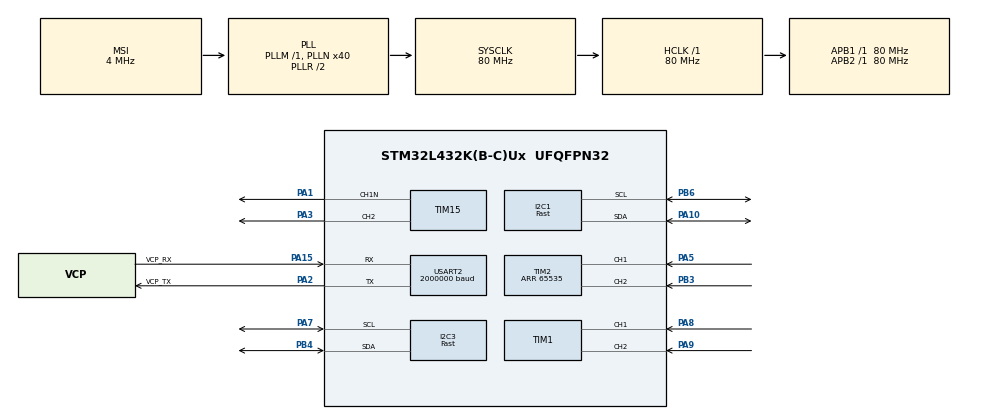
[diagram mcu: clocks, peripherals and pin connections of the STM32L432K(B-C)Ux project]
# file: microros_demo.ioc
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Dma.Request0=USART2_RX
Dma.Request1=USART2_TX
Dma.USART2_RX.0.Direction=DMA_PERIPH_TO_MEMORY
Dma.USART2_RX.0.Instance=DMA1_Channel6
Dma.USART2_RX.0.MemDataAlignment=DMA_MDATAALIGN_BYTE
Dma.USART2_RX.0.MemInc=DMA_MINC_ENABLE
Dma.USART2_RX.0.Mode=DMA_CIRCULAR
Dma.USART2_RX.0.PeriphDataAlignment=DMA_PDATAALIGN_BYTE
Dma.USART2_RX.0.PeriphInc=DMA_PINC_DISABLE
Dma.USART2_RX.0.Priority=DMA_PRIORITY_VERY_HIGH
Dma.USART2_TX.1.Direction=DMA_MEMORY_TO_PERIPH
Dma.USART2_TX.1.Instance=DMA1_Channel7
Dma.USART2_TX.1.MemDataAlignment=DMA_MDATAALIGN_BYTE
Dma.USART2_TX.1.MemInc=DMA_MINC_ENABLE
Dma.USART2_TX.1.Mode=DMA_NORMAL
Dma.USART2_TX.1.PeriphDataAlignment=DMA_PDATAALIGN_BYTE
Dma.USART2_TX.1.PeriphInc=DMA_PINC_DISABLE
Dma.USART2_TX.1.Priority=DMA_PRIORITY_VERY_HIGH
FREERTOS.Tasks01=defaultTask,24,4096,StartDefaultTask,Default,NULL,Static,defaultTaskBuffer,defaultTaskControlBlock
FREERTOS.configENABLE_FPU=1
FREERTOS.configUSE_NEWLIB_REENTRANT=1
I2C1.I2C_Speed_Mode=I2C_Fast
I2C1.Timing=0x00702991
I2C3.I2C_Speed_Mode=I2C_Fast
I2C3.Timing=0x00702991
Mcu.Family=STM32L4
Mcu.Name=STM32L432K(B-C)Ux
Mcu.Package=UFQFPN32
NVIC.DMA1_Channel6_IRQn=true\:5\:0\:false\:false\:true\:true\:false\:true\:true
NVIC.DMA1_Channel7_IRQn=true\:5\:0\:false\:false\:true\:true\:false\:true\:true
NVIC.PriorityGroup=NVIC_PRIORITYGROUP_4
NVIC.TIM6_DAC_IRQn=true\:15\:0\:false\:false\:true\:false\:false\:true\:true
NVIC.TimeBase=TIM6_DAC_IRQn
NVIC.TimeBaseIP=TIM6
NVIC.USART2_IRQn=true\:5\:0\:false\:false\:true\:true\:true\:true\:true
PA0.GPIO_Label=MCO [High speed clock in]
PA0.Mode=HSE-External-Clock-Source-for-LittleOrca
PA0.Signal=RCC_CK_IN
PA1.Mode=PWM Generation1 CH1N
PA1.Signal=TIM15_CH1N
PA10.Mode=I2C
PA10.Signal=I2C1_SDA
PA13\ (JTMS-SWDIO).GPIO_Label=SWDIO
PA13\ (JTMS-SWDIO).Mode=Serial_Wire
PA13\ (JTMS-SWDIO).Signal=SYS_JTMS-SWDIO
PA14\ (JTCK-SWCLK).GPIO_Label=SWCLK
PA14\ (JTCK-SWCLK).Mode=Serial_Wire
PA14\ (JTCK-SWCLK).Signal=SYS_JTCK-SWCLK
PA15\ (JTDI).GPIO_Label=VCP_RX
PA15\ (JTDI).Mode=Asynchronous
PA15\ (JTDI).Signal=USART2_RX
PA2.GPIO_Label=VCP_TX
PA2.Mode=Asynchronous
PA2.Signal=USART2_TX
PA3.Signal=S_TIM15_CH2
PA5.Signal=S_TIM2_CH1
PA7.Mode=I2C
PA7.Signal=I2C3_SCL
PA8.Signal=S_TIM1_CH1
PA9.Signal=S_TIM1_CH2
PB3\ (JTDO-TRACESWO).Signal=S_TIM2_CH2
PB4\ (NJTRST).Mode=I2C
PB4\ (NJTRST).Signal=I2C3_SDA
PB6.Mode=I2C
PB6.Signal=I2C1_SCL
PC14-OSC32_IN\ (PC14).Mode=LSE-External-Oscillator
PC14-OSC32_IN\ (PC14).Signal=RCC_OSC32_IN
PC15-OSC32_OUT\ (PC15).Mode=LSE-External-Oscillator
PC15-OSC32_OUT\ (PC15).Signal=RCC_OSC32_OUT
ProjectManager.HeapSize=0x200
ProjectManager.StackSize=0x400
ProjectManager.TargetToolchain=STM32CubeIDE
RCC.AHBFreq_Value=80000000
RCC.APB1Freq_Value=80000000
RCC.APB1TimFreq_Value=80000000
RCC.APB2Freq_Value=80000000
RCC.APB2TimFreq_Value=80000000
RCC.CortexFreq_Value=80000000
RCC.HCLKFreq_Value=80000000
RCC.HSE_VALUE=8000000
RCC.HSI16_VALUE=16000000
RCC.HSI48_VALUE=48000000
RCC.HSI_VALUE=16000000
RCC.MSI_VALUE=4000000
RCC.PLLMUL=RCC_PLLMUL_4
RCC.PLLN=40
RCC.SYSCLKFreq_VALUE=80000000
RCC.SYSCLKSource=RCC_SYSCLKSOURCE_PLLCLK
RCC.VCOOutputFreq_Value=160000000
SH.S_TIM15_CH2.0=TIM15_CH2,PWM Generation2 CH2
SH.S_TIM1_CH1.0=TIM1_CH1,Encoder_Interface
SH.S_TIM1_CH2.0=TIM1_CH2,Encoder_Interface
SH.S_TIM2_CH1.0=TIM2_CH1,Encoder_Interface
SH.S_TIM2_CH2.0=TIM2_CH2,Encoder_Interface
TIM1.EncoderMode=TIM_ENCODERMODE_TI12
TIM15.Channel-PWM\ Generation1\ CH1N=TIM_CHANNEL_1
TIM15.Channel-PWM\ Generation2\ CH2=TIM_CHANNEL_2
TIM2.EncoderMode=TIM_ENCODERMODE_TI12
TIM2.Period=65535
USART2.BaudRate=2000000
USART2.VirtualMode-Asynchronous=VM_ASYNC
VP_FREERTOS_VS_CMSIS_V2.Mode=CMSIS_V2
VP_SYS_VS_tim6.Mode=TIM6
VP_TIM15_VS_ClockSourceINT.Mode=Internal
board=NUCLEO-L432KC

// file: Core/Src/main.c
/* USER CODE BEGIN Header */
/**
  ******************************************************************************
  * @file           : main.c
  * @brief          : Main program body
  ******************************************************************************
  * @attention
  *
  * Copyright (c) 2024 STMicroelectronics.
  * All rights reserved.
  *
  * This software is licensed under terms that can be found in the LICENSE file
  * in the root directory of this software component.
  * If no LICENSE file comes with this software, it is provided AS-IS.
  *
  ******************************************************************************
  */
/* USER CODE END Header */
#include "main.h"
#include "cmsis_os.h"

/* USER CODE BEGIN Includes */
#include <rcl/rcl.h>
#include <rcl/error_handling.h>
#include <rclc/rclc.h>
#include <rclc/executor.h>
#include <uxr/client/transport.h>
#include <rmw_microxrcedds_c/config.h>
#include <rmw_microros/rmw_microros.h>

#include <std_msgs/msg/float64_multi_array.h>
/* USER CODE END Includes */

typedef StaticTask_t osStaticThreadDef_t;

/* USER CODE BEGIN PM */
#define HALCHECK(fn) while(u != HAL_OK) HAL_Delay(100);
#define RCCHECK(fn) { rcl_ret_t temp_rc = fn; if((temp_rc != RCL_RET_OK)){Error_Handler()}}
#define RCSOFTCHECK(fn) { rcl_ret_t temp_rc = fn; if((temp_rc != RCL_RET_OK)){}}
/* USER CODE END PM */

I2C_HandleTypeDef hi2c1;
I2C_HandleTypeDef hi2c3;

TIM_HandleTypeDef htim1;
TIM_HandleTypeDef htim2;
TIM_HandleTypeDef htim15;

UART_HandleTypeDef huart2;
DMA_HandleTypeDef hdma_usart2_rx;
DMA_HandleTypeDef hdma_usart2_tx;

/* Definitions for defaultTask */
osThreadId_t defaultTaskHandle;
uint32_t defaultTaskBuffer[ 4096 ];
osStaticThreadDef_t defaultTaskControlBlock;
const osThreadAttr_t defaultTask_attributes = {
  .name = "defaultTask",
  .cb_mem = &defaultTaskControlBlock,
  .cb_size = sizeof(defaultTaskControlBlock),
  .stack_mem = &defaultTaskBuffer[0],
  .stack_size = sizeof(defaultTaskBuffer),
  .priority = (osPriority_t) osPriorityNormal,
};
/* USER CODE BEGIN PV */
rcl_publisher_t enc_publisher;
rcl_publisher_t imu_publisher;

rcl_subscription_t cmd_subscription;

std_msgs__msg__Float64MultiArray enc_msg;
std_msgs__msg__Float64MultiArray imu_msg;
std_msgs__msg__Float64MultiArray cmd_msg;

rclc_support_t support;
rclc_executor_t executor;
rcl_allocator_t allocator;
rcl_node_t node;
rcl_timer_t enc_timer;
rcl_timer_t imu_timer;
/* USER CODE END PV */

void SystemClock_Config(void);
static void MX_GPIO_Init(void);
static void MX_DMA_Init(void);
static void MX_USART2_UART_Init(void);
static void MX_I2C1_Init(void);
static void MX_I2C3_Init(void);
static void MX_TIM1_Init(void);
static void MX_TIM2_Init(void);
static void MX_TIM15_Init(void);
void StartDefaultTask(void *argument);

int main(void)
{

  /* MCU Configuration--------------------------------------------------------*/

  /* Reset of all peripherals, Initializes the Flash interface and the Systick. */
  HAL_Init();

  /* Configure the system clock */
  SystemClock_Config();

  /* Initialize all configured peripherals */
  MX_GPIO_Init();
  MX_DMA_Init();
  MX_USART2_UART_Init();
  MX_I2C1_Init();
  MX_I2C3_Init();
  MX_TIM1_Init();
  MX_TIM2_Init();
  MX_TIM15_Init();

  /* Init scheduler */
  osKernelInitialize();

  /* Create the thread(s) */
  /* creation of defaultTask */
  defaultTaskHandle = osThreadNew(StartDefaultTask, NULL, &defaultTask_attributes);

  /* Start scheduler */
  osKernelStart();

  /* We should never get here as control is now taken by the scheduler */

  /* Infinite loop */
  while (1)
  {

  }
}

void SystemClock_Config(void)
{
  RCC_OscInitTypeDef RCC_OscInitStruct = {0};
  RCC_ClkInitTypeDef RCC_ClkInitStruct = {0};

  /** Configure the main internal regulator output voltage
  */
  if (HAL_PWREx_ControlVoltageScaling(PWR_REGULATOR_VOLTAGE_SCALE1) != HAL_OK)
  {
    Error_Handler();
  }

  /** Configure LSE Drive Capability
  */
  HAL_PWR_EnableBkUpAccess();
  __HAL_RCC_LSEDRIVE_CONFIG(RCC_LSEDRIVE_LOW);

  /** Initializes the RCC Oscillators according to the specified parameters
  * in the RCC_OscInitTypeDef structure.
  */
  RCC_OscInitStruct.OscillatorType = RCC_OSCILLATORTYPE_LSE|RCC_OSCILLATORTYPE_MSI;
  RCC_OscInitStruct.LSEState = RCC_LSE_ON;
  RCC_OscInitStruct.MSIState = RCC_MSI_ON;
  RCC_OscInitStruct.MSICalibrationValue = 0;
  RCC_OscInitStruct.MSIClockRange = RCC_MSIRANGE_6;
  RCC_OscInitStruct.PLL.PLLState = RCC_PLL_ON;
  RCC_OscInitStruct.PLL.PLLSource = RCC_PLLSOURCE_MSI;
  RCC_OscInitStruct.PLL.PLLM = 1;
  RCC_OscInitStruct.PLL.PLLN = 40;
  RCC_OscInitStruct.PLL.PLLP = RCC_PLLP_DIV7;
  RCC_OscInitStruct.PLL.PLLQ = RCC_PLLQ_DIV2;
  RCC_OscInitStruct.PLL.PLLR = RCC_PLLR_DIV2;
  if (HAL_RCC_OscConfig(&RCC_OscInitStruct) != HAL_OK)
  {
    Error_Handler();
  }

  /** Initializes the CPU, AHB and APB buses clocks
  */
  RCC_ClkInitStruct.ClockType = RCC_CLOCKTYPE_HCLK|RCC_CLOCKTYPE_SYSCLK
                              |RCC_CLOCKTYPE_PCLK1|RCC_CLOCKTYPE_PCLK2;
  RCC_ClkInitStruct.SYSCLKSource = RCC_SYSCLKSOURCE_PLLCLK;
  RCC_ClkInitStruct.AHBCLKDivider = RCC_SYSCLK_DIV1;
  RCC_ClkInitStruct.APB1CLKDivider = RCC_HCLK_DIV1;
  RCC_ClkInitStruct.APB2CLKDivider = RCC_HCLK_DIV1;

  if (HAL_RCC_ClockConfig(&RCC_ClkInitStruct, FLASH_LATENCY_4) != HAL_OK)
  {
    Error_Handler();
  }

  /** Enable MSI Auto calibration
  */
  HAL_RCCEx_EnableMSIPLLMode();
}

static void MX_I2C1_Init(void)
{

  hi2c1.Instance = I2C1;
  hi2c1.Init.Timing = 0x00702991;
  hi2c1.Init.OwnAddress1 = 0;
  hi2c1.Init.AddressingMode = I2C_ADDRESSINGMODE_7BIT;
  hi2c1.Init.DualAddressMode = I2C_DUALADDRESS_DISABLE;
  hi2c1.Init.OwnAddress2 = 0;
  hi2c1.Init.OwnAddress2Masks = I2C_OA2_NOMASK;
  hi2c1.Init.GeneralCallMode = I2C_GENERALCALL_DISABLE;
  hi2c1.Init.NoStretchMode = I2C_NOSTRETCH_DISABLE;
  if (HAL_I2C_Init(&hi2c1) != HAL_OK)
  {
    Error_Handler();
  }

  /** Configure Analogue filter
  */
  if (HAL_I2CEx_ConfigAnalogFilter(&hi2c1, I2C_ANALOGFILTER_ENABLE) != HAL_OK)
  {
    Error_Handler();
  }

  /** Configure Digital filter
  */
  if (HAL_I2CEx_ConfigDigitalFilter(&hi2c1, 0) != HAL_OK)
  {
    Error_Handler();
  }

}

static void MX_I2C3_Init(void)
{

  hi2c3.Instance = I2C3;
  hi2c3.Init.Timing = 0x00702991;
  hi2c3.Init.OwnAddress1 = 0;
  hi2c3.Init.AddressingMode = I2C_ADDRESSINGMODE_7BIT;
  hi2c3.Init.DualAddressMode = I2C_DUALADDRESS_DISABLE;
  hi2c3.Init.OwnAddress2 = 0;
  hi2c3.Init.OwnAddress2Masks = I2C_OA2_NOMASK;
  hi2c3.Init.GeneralCallMode = I2C_GENERALCALL_DISABLE;
  hi2c3.Init.NoStretchMode = I2C_NOSTRETCH_DISABLE;
  if (HAL_I2C_Init(&hi2c3) != HAL_OK)
  {
    Error_Handler();
  }

  /** Configure Analogue filter
  */
  if (HAL_I2CEx_ConfigAnalogFilter(&hi2c3, I2C_ANALOGFILTER_ENABLE) != HAL_OK)
  {
    Error_Handler();
  }

  /** Configure Digital filter
  */
  if (HAL_I2CEx_ConfigDigitalFilter(&hi2c3, 0) != HAL_OK)
  {
    Error_Handler();
  }

}

static void MX_TIM1_Init(void)
{

  TIM_Encoder_InitTypeDef sConfig = {0};
  TIM_MasterConfigTypeDef sMasterConfig = {0};

  htim1.Instance = TIM1;
  htim1.Init.Prescaler = 0;
  htim1.Init.CounterMode = TIM_COUNTERMODE_UP;
  htim1.Init.Period = 65535;
  htim1.Init.ClockDivision = TIM_CLOCKDIVISION_DIV1;
  htim1.Init.RepetitionCounter = 0;
  htim1.Init.AutoReloadPreload = TIM_AUTORELOAD_PRELOAD_DISABLE;
  sConfig.EncoderMode = TIM_ENCODERMODE_TI12;
  sConfig.IC1Polarity = TIM_ICPOLARITY_RISING;
  sConfig.IC1Selection = TIM_ICSELECTION_DIRECTTI;
  sConfig.IC1Prescaler = TIM_ICPSC_DIV1;
  sConfig.IC1Filter = 0;
  sConfig.IC2Polarity = TIM_ICPOLARITY_RISING;
  sConfig.IC2Selection = TIM_ICSELECTION_DIRECTTI;
  sConfig.IC2Prescaler = TIM_ICPSC_DIV1;
  sConfig.IC2Filter = 0;
  if (HAL_TIM_Encoder_Init(&htim1, &sConfig) != HAL_OK)
  {
    Error_Handler();
  }
  sMasterConfig.MasterOutputTrigger = TIM_TRGO_RESET;
  sMasterConfig.MasterOutputTrigger2 = TIM_TRGO2_RESET;
  sMasterConfig.MasterSlaveMode = TIM_MASTERSLAVEMODE_DISABLE;
  if (HAL_TIMEx_MasterConfigSynchronization(&htim1, &sMasterConfig) != HAL_OK)
  {
    Error_Handler();
  }

}

static void MX_TIM2_Init(void)
{

  TIM_Encoder_InitTypeDef sConfig = {0};
  TIM_MasterConfigTypeDef sMasterConfig = {0};

  htim2.Instance = TIM2;
  htim2.Init.Prescaler = 0;
  htim2.Init.CounterMode = TIM_COUNTERMODE_UP;
  htim2.Init.Period = 65535;
  htim2.Init.ClockDivision = TIM_CLOCKDIVISION_DIV1;
  htim2.Init.AutoReloadPreload = TIM_AUTORELOAD_PRELOAD_DISABLE;
  sConfig.EncoderMode = TIM_ENCODERMODE_TI12;
  sConfig.IC1Polarity = TIM_ICPOLARITY_RISING;
  sConfig.IC1Selection = TIM_ICSELECTION_DIRECTTI;
  sConfig.IC1Prescaler = TIM_ICPSC_DIV1;
  sConfig.IC1Filter = 0;
  sConfig.IC2Polarity = TIM_ICPOLARITY_RISING;
  sConfig.IC2Selection = TIM_ICSELECTION_DIRECTTI;
  sConfig.IC2Prescaler = TIM_ICPSC_DIV1;
  sConfig.IC2Filter = 0;
  if (HAL_TIM_Encoder_Init(&htim2, &sConfig) != HAL_OK)
  {
    Error_Handler();
  }
  sMasterConfig.MasterOutputTrigger = TIM_TRGO_RESET;
  sMasterConfig.MasterSlaveMode = TIM_MASTERSLAVEMODE_DISABLE;
  if (HAL_TIMEx_MasterConfigSynchronization(&htim2, &sMasterConfig) != HAL_OK)
  {
    Error_Handler();
  }

}

static void MX_TIM15_Init(void)
{

  TIM_ClockConfigTypeDef sClockSourceConfig = {0};
  TIM_MasterConfigTypeDef sMasterConfig = {0};
  TIM_OC_InitTypeDef sConfigOC = {0};
  TIM_BreakDeadTimeConfigTypeDef sBreakDeadTimeConfig = {0};

  htim15.Instance = TIM15;
  htim15.Init.Prescaler = 0;
  htim15.Init.CounterMode = TIM_COUNTERMODE_UP;
  htim15.Init.Period = 65535;
  htim15.Init.ClockDivision = TIM_CLOCKDIVISION_DIV1;
  htim15.Init.RepetitionCounter = 0;
  htim15.Init.AutoReloadPreload = TIM_AUTORELOAD_PRELOAD_DISABLE;
  if (HAL_TIM_Base_Init(&htim15) != HAL_OK)
  {
    Error_Handler();
  }
  sClockSourceConfig.ClockSource = TIM_CLOCKSOURCE_INTERNAL;
  if (HAL_TIM_ConfigClockSource(&htim15, &sClockSourceConfig) != HAL_OK)
  {
    Error_Handler();
  }
  if (HAL_TIM_PWM_Init(&htim15) != HAL_OK)
  {
    Error_Handler();
  }
  sMasterConfig.MasterOutputTrigger = TIM_TRGO_RESET;
  sMasterConfig.MasterSlaveMode = TIM_MASTERSLAVEMODE_DISABLE;
  if (HAL_TIMEx_MasterConfigSynchronization(&htim15, &sMasterConfig) != HAL_OK)
  {
    Error_Handler();
  }
  sConfigOC.OCMode = TIM_OCMODE_PWM1;
  sConfigOC.Pulse = 0;
  sConfigOC.OCPolarity = TIM_OCPOLARITY_HIGH;
  sConfigOC.OCNPolarity = TIM_OCNPOLARITY_HIGH;
  sConfigOC.OCFastMode = TIM_OCFAST_DISABLE;
  sConfigOC.OCIdleState = TIM_OCIDLESTATE_RESET;
  sConfigOC.OCNIdleState = TIM_OCNIDLESTATE_RESET;
  if (HAL_TIM_PWM_ConfigChannel(&htim15, &sConfigOC, TIM_CHANNEL_1) != HAL_OK)
  {
    Error_Handler();
  }
  if (HAL_TIM_PWM_ConfigChannel(&htim15, &sConfigOC, TIM_CHANNEL_2) != HAL_OK)
  {
    Error_Handler();
  }
  sBreakDeadTimeConfig.OffStateRunMode = TIM_OSSR_DISABLE;
  sBreakDeadTimeConfig.OffStateIDLEMode = TIM_OSSI_DISABLE;
  sBreakDeadTimeConfig.LockLevel = TIM_LOCKLEVEL_OFF;
  sBreakDeadTimeConfig.DeadTime = 0;
  sBreakDeadTimeConfig.BreakState = TIM_BREAK_DISABLE;
  sBreakDeadTimeConfig.BreakPolarity = TIM_BREAKPOLARITY_HIGH;
  sBreakDeadTimeConfig.AutomaticOutput = TIM_AUTOMATICOUTPUT_DISABLE;
  if (HAL_TIMEx_ConfigBreakDeadTime(&htim15, &sBreakDeadTimeConfig) != HAL_OK)
  {
    Error_Handler();
  }
  HAL_TIM_MspPostInit(&htim15);

}

static void MX_USART2_UART_Init(void)
{

  huart2.Instance = USART2;
  huart2.Init.BaudRate = 2000000;
  huart2.Init.WordLength = UART_WORDLENGTH_8B;
  huart2.Init.StopBits = UART_STOPBITS_1;
  huart2.Init.Parity = UART_PARITY_NONE;
  huart2.Init.Mode = UART_MODE_TX_RX;
  huart2.Init.HwFlowCtl = UART_HWCONTROL_NONE;
  huart2.Init.OverSampling = UART_OVERSAMPLING_16;
  huart2.Init.OneBitSampling = UART_ONE_BIT_SAMPLE_DISABLE;
  huart2.AdvancedInit.AdvFeatureInit = UART_ADVFEATURE_NO_INIT;
  if (HAL_UART_Init(&huart2) != HAL_OK)
  {
    Error_Handler();
  }

}

static void MX_DMA_Init(void)
{

  /* DMA controller clock enable */
  __HAL_RCC_DMA1_CLK_ENABLE();

  /* DMA interrupt init */
  /* DMA1_Channel6_IRQn interrupt configuration */
  HAL_NVIC_SetPriority(DMA1_Channel6_IRQn, 5, 0);
  HAL_NVIC_EnableIRQ(DMA1_Channel6_IRQn);
  /* DMA1_Channel7_IRQn interrupt configuration */
  HAL_NVIC_SetPriority(DMA1_Channel7_IRQn, 5, 0);
  HAL_NVIC_EnableIRQ(DMA1_Channel7_IRQn);

}

static void MX_GPIO_Init(void)
{

  /* GPIO Ports Clock Enable */
  __HAL_RCC_GPIOC_CLK_ENABLE();
  __HAL_RCC_GPIOA_CLK_ENABLE();
  __HAL_RCC_GPIOB_CLK_ENABLE();

}

/* USER CODE BEGIN 4 */
bool cubemx_transport_open(struct uxrCustomTransport * transport);
bool cubemx_transport_close(struct uxrCustomTransport * transport);
size_t cubemx_transport_write(struct uxrCustomTransport* transport, const uint8_t * buf, size_t len, uint8_t * err);
size_t cubemx_transport_read(struct uxrCustomTransport* transport, uint8_t* buf, size_t len, int timeout, uint8_t* err);

void * microros_allocate(size_t size, void * state);
void microros_deallocate(void * pointer, void * state);
void * microros_reallocate(void * pointer, size_t size, void * state);
void * microros_zero_allocate(size_t number_of_elements, size_t size_of_element, void * state);

void enc_timer_callback(rcl_timer_t * timer, int64_t last_call_time)
{
	RCLC_UNUSED(last_call_time);
	if (timer != NULL)
	{
		rcl_ret_t ret = rcl_publish(&enc_publisher, &enc_msg, NULL);
		if (ret != RCL_RET_OK)
		{
			printf("Error publishing (line %d)\n", __LINE__);
		}
	}
}

void imu_timer_callback(rcl_timer_t * timer, int64_t last_call_time)
{
	RCLC_UNUSED(last_call_time);
	if (timer != NULL)
	{
		rcl_ret_t ret = rcl_publish(&imu_publisher, &imu_msg, NULL);
		if (ret != RCL_RET_OK)
		{
			printf("Error publishing (line %d)\n", __LINE__);
		}
	}
}

void subscription_callback(const void * msgin)
{
  const std_msgs__msg__Float64MultiArray *cmd_msg = (const std_msgs__msg__Float64MultiArray *)msgin;

	enc_msg.data.data[0] = cmd_msg->data.data[0];
	enc_msg.data.data[1] = cmd_msg->data.data[1];
}
/* USER CODE END 4 */

void StartDefaultTask(void *argument)
{
  /* USER CODE BEGIN 5 */

	// micro-ROS configuration

	rmw_uros_set_custom_transport(
			true,
			(void *) &huart2,
			cubemx_transport_open,
			cubemx_transport_close,
			cubemx_transport_write,
			cubemx_transport_read);

	rcl_allocator_t freeRTOS_allocator = rcutils_get_zero_initialized_allocator();
	freeRTOS_allocator.allocate = microros_allocate;
	freeRTOS_allocator.deallocate = microros_deallocate;
	freeRTOS_allocator.reallocate = microros_reallocate;
	freeRTOS_allocator.zero_allocate =  microros_zero_allocate;

	if (!rcutils_set_default_allocator(&freeRTOS_allocator)) {
		printf("Error on default allocators (line %d)\n", __LINE__);
	}

	// micro-ROS app

	allocator = rcl_get_default_allocator();

	//create init_options
	rclc_support_init(&support, 0, NULL, &allocator);

	// create node
	rclc_node_init_default(&node, "cubemx_node", "", &support);

	// create publisher
	rclc_publisher_init_default(
			&enc_publisher,
			&node,
			ROSIDL_GET_MSG_TYPE_SUPPORT(std_msgs, msg, Float64MultiArray),
			"enc_raw");
	rclc_publisher_init_default(&imu_publisher,
			&node,
			ROSIDL_GET_MSG_TYPE_SUPPORT(std_msgs, msg, Float64MultiArray),
			"imu_raw");

	rclc_subscription_init_default(
			&cmd_subscription,
			&node,
			ROSIDL_GET_MSG_TYPE_SUPPORT(std_msgs, msg, Float64MultiArray),
			"mcu_cmd");

	rclc_timer_init_default(
			&enc_timer,
			&support,
			RCL_MS_TO_NS(20),
			enc_timer_callback);

	rclc_timer_init_default(&imu_timer,
			&support,
			RCL_MS_TO_NS(10),
			imu_timer_callback);

	enc_msg.data.capacity = 3;
	enc_msg.data.data = (double*) malloc(enc_msg.data.capacity * sizeof(double));
	enc_msg.data.size = 3;

	imu_msg.data.capacity = 10;
	imu_msg.data.data = (double*) malloc(imu_msg.data.capacity * sizeof(double));
	imu_msg.data.size = 10;

	cmd_msg.data.capacity = 2;
	cmd_msg.data.data = (double*) malloc(cmd_msg.data.capacity * sizeof(double));
	cmd_msg.data.size = 2;

	rclc_executor_init(&executor, &support.context, 3, &allocator);
	rclc_executor_add_subscription(&executor, &cmd_subscription, &cmd_msg, &subscription_callback, ON_NEW_DATA);
	rclc_executor_add_timer(&executor, &enc_timer);
	rclc_executor_add_timer(&executor, &imu_timer);
	rclc_executor_spin(&executor);

	/* Infinite loop */
	for(;;)
	{
		rclc_executor_spin_some(&executor, RCL_MS_TO_NS(1));
	}
  /* USER CODE END 5 */
}

void HAL_TIM_PeriodElapsedCallback(TIM_HandleTypeDef *htim)
{
  if (htim->Instance == TIM6) {
    HAL_IncTick();
  }
}

void Error_Handler(void)
{
  __disable_irq();
  while (1)
  {
  }
}
